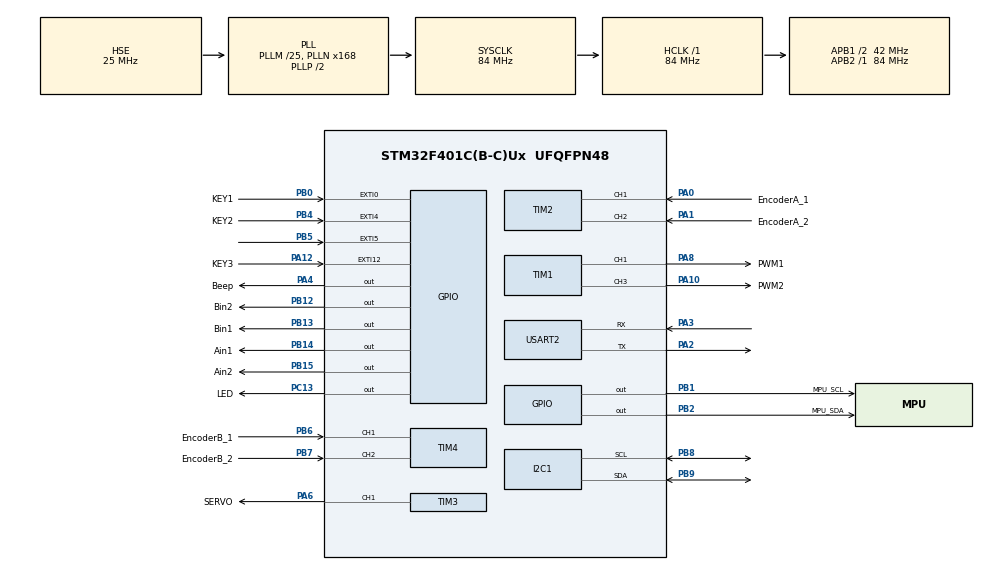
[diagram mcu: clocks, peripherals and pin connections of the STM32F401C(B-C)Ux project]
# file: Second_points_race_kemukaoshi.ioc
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Mcu.Family=STM32F4
Mcu.Name=STM32F401C(B-C)Ux
Mcu.Package=UFQFPN48
NVIC.EXTI0_IRQn=true\:0\:0\:false\:false\:true\:true\:true\:true
NVIC.EXTI15_10_IRQn=true\:0\:0\:false\:false\:true\:true\:true\:true
NVIC.EXTI4_IRQn=true\:0\:0\:false\:false\:true\:true\:true\:true
NVIC.PriorityGroup=NVIC_PRIORITYGROUP_4
NVIC.USART2_IRQn=true\:0\:0\:false\:false\:true\:true\:true\:true
PA0-WKUP.GPIO_Label=EncoderA_1
PA0-WKUP.Signal=S_TIM2_CH1_ETR
PA1.GPIO_Label=EncoderA_2
PA1.Signal=S_TIM2_CH2
PA10.GPIO_Label=PWM2
PA10.Signal=S_TIM1_CH3
PA12.GPIO_Label=KEY3
PA12.GPIO_ModeDefaultEXTI=GPIO_MODE_IT_FALLING
PA12.GPIO_PuPd=GPIO_PULLUP
PA12.Signal=GPXTI12
PA13.Mode=Serial_Wire
PA13.Signal=SYS_JTMS-SWDIO
PA14.Mode=Serial_Wire
PA14.Signal=SYS_JTCK-SWCLK
PA2.Mode=Asynchronous
PA2.Signal=USART2_TX
PA3.Mode=Asynchronous
PA3.Signal=USART2_RX
PA4.GPIO_Label=Beep
PA4.GPIO_PuPd=GPIO_PULLDOWN
PA4.Signal=GPIO_Output
PA6.GPIO_Label=SERVO
PA6.Signal=S_TIM3_CH1
PA8.GPIO_Label=PWM1
PA8.Signal=S_TIM1_CH1
PB0.GPIO_Label=KEY1
PB0.GPIO_ModeDefaultEXTI=GPIO_MODE_IT_FALLING
PB0.GPIO_PuPd=GPIO_PULLUP
PB0.Signal=GPXTI0
PB1.GPIO_Label=MPU_SCL
PB1.GPIO_ModeDefaultOutputPP=GPIO_MODE_OUTPUT_OD
PB1.GPIO_PuPd=GPIO_PULLUP
PB1.Signal=GPIO_Output
PB12.GPIO_Label=Bin2
PB12.Signal=GPIO_Output
PB13.GPIO_Label=Bin1
PB13.Signal=GPIO_Output
PB14.GPIO_Label=Ain1
PB14.Signal=GPIO_Output
PB15.GPIO_Label=Ain2
PB15.Signal=GPIO_Output
PB2.GPIO_Label=MPU_SDA
PB2.GPIO_ModeDefaultOutputPP=GPIO_MODE_OUTPUT_OD
PB2.GPIO_PuPd=GPIO_PULLUP
PB2.Signal=GPIO_Output
PB4.GPIO_Label=KEY2
PB4.GPIO_ModeDefaultEXTI=GPIO_MODE_IT_FALLING
PB4.GPIO_PuPd=GPIO_PULLUP
PB4.Signal=GPXTI4
PB5.GPIO_ModeDefaultEXTI=GPIO_MODE_IT_FALLING
PB5.GPIO_PuPd=GPIO_PULLUP
PB5.Signal=GPXTI5
PB6.GPIO_Label=EncoderB_1
PB6.Signal=S_TIM4_CH1
PB7.GPIO_Label=EncoderB_2
PB7.Signal=S_TIM4_CH2
PB8.Mode=I2C
PB8.Signal=I2C1_SCL
PB9.Mode=I2C
PB9.Signal=I2C1_SDA
PC13-ANTI_TAMP.GPIO_Label=LED
PC13-ANTI_TAMP.GPIO_PuPd=GPIO_PULLDOWN
PC13-ANTI_TAMP.Signal=GPIO_Output
PH0\ -\ OSC_IN.Mode=HSE-External-Oscillator
PH0\ -\ OSC_IN.Signal=RCC_OSC_IN
PH1\ -\ OSC_OUT.Mode=HSE-External-Oscillator
PH1\ -\ OSC_OUT.Signal=RCC_OSC_OUT
ProjectManager.HeapSize=0x200
ProjectManager.StackSize=0x400
ProjectManager.TargetToolchain=MDK-ARM V5.32
RCC.48MHZClocksFreq_Value=42000000
RCC.AHBFreq_Value=84000000
RCC.APB1CLKDivider=RCC_HCLK_DIV2
RCC.APB1Freq_Value=42000000
RCC.APB1TimFreq_Value=84000000
RCC.APB2Freq_Value=84000000
RCC.APB2TimFreq_Value=84000000
RCC.CortexFreq_Value=84000000
RCC.HCLKFreq_Value=84000000
RCC.HSE_VALUE=25000000
RCC.HSI_VALUE=16000000
RCC.LSE_VALUE=32768
RCC.PLLM=25
RCC.PLLN=168
RCC.PLLSourceVirtual=RCC_PLLSOURCE_HSE
RCC.SYSCLKFreq_VALUE=84000000
RCC.SYSCLKSource=RCC_SYSCLKSOURCE_PLLCLK
RCC.VCOOutputFreq_Value=168000000
SH.S_TIM1_CH1.0=TIM1_CH1,PWM Generation1 CH1
SH.S_TIM1_CH3.0=TIM1_CH3,PWM Generation3 CH3
SH.S_TIM2_CH1_ETR.0=TIM2_CH1,Encoder_Interface
SH.S_TIM2_CH2.0=TIM2_CH2,Encoder_Interface
SH.S_TIM3_CH1.0=TIM3_CH1,PWM Generation1 CH1
SH.S_TIM4_CH1.0=TIM4_CH1,Encoder_Interface
SH.S_TIM4_CH2.0=TIM4_CH2,Encoder_Interface
TIM1.Channel-PWM\ Generation1\ CH1=TIM_CHANNEL_1
TIM1.Channel-PWM\ Generation3\ CH3=TIM_CHANNEL_3
TIM3.Channel-PWM\ Generation1\ CH1=TIM_CHANNEL_1
USART2.VirtualMode=VM_ASYNC
VP_TIM1_VS_ClockSourceINT.Mode=Internal
VP_TIM3_VS_ClockSourceINT.Mode=Internal
VP_TIM9_VS_ClockSourceINT.Mode=Internal
board=custom

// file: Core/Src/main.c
/* USER CODE BEGIN Header */
/**
  ******************************************************************************
  * @file           : main.c
  * @brief          : Main program body
  ******************************************************************************
  * @attention
  *
  * Copyright (c) 2025 STMicroelectronics.
  * All rights reserved.
  *
  * This software is licensed under terms that can be found in the LICENSE file
  * in the root directory of this software component.
  * If no LICENSE file comes with this software, it is provided AS-IS.
  *
  ******************************************************************************
  */
/* USER CODE END Header */
#include "main.h"
#include "i2c.h"
#include "tim.h"
#include "usart.h"
#include "gpio.h"

/* USER CODE BEGIN Includes */
#include "uart.h"
#include "control.h"
#include "mpu6050.h"
#include "Print.h"
#include "key.h"
/* USER CODE END Includes */

/* USER CODE BEGIN PV */
extern uint8_t USART2_RX_BUF[USART2_RX_LEN];
/* USER CODE END PV */

void SystemClock_Config(void);

int main(void)
{

  /* MCU Configuration--------------------------------------------------------*/

  /* Reset of all peripherals, Initializes the Flash interface and the Systick. */
  HAL_Init();

  /* Configure the system clock */
  SystemClock_Config();

  /* Initialize all configured peripherals */
  MX_GPIO_Init();
  MX_TIM3_Init();
  MX_TIM1_Init();
  MX_USART2_UART_Init();
  MX_TIM2_Init();
  MX_TIM4_Init();
  MX_I2C1_Init();
  MX_TIM9_Init();
  /* USER CODE BEGIN 2 */
	MPU_Init();
	printf("\r\n%d\r\n", mpu_dmp_init());
	HAL_UART_Receive_IT(&huart2, USART2_RX_BUF, 1);
	HAL_TIM_Base_Start(&htim1);
	HAL_TIM_Base_Start(&htim2);
	HAL_TIM_Base_Start(&htim3);
	HAL_TIM_Base_Start(&htim4);
	HAL_TIM_Base_Start(&htim9);
	HAL_TIM_PWM_Start(&htim1,TIM_CHANNEL_1);
	HAL_TIM_PWM_Start(&htim1,TIM_CHANNEL_3);
	HAL_TIM_PWM_Start(&htim3,TIM_CHANNEL_1);
	HAL_TIM_Encoder_Start(&htim2,TIM_CHANNEL_ALL);
	HAL_TIM_Encoder_Start(&htim4,TIM_CHANNEL_ALL);

		while(Flag.Run_Step == 0)//等待开始运行指令
	{
		Kinematic_Analysis(0,0,yaw);//小车停止
		while(Param.ModeChoose==0){;}//等待按键按下，确定模式
		Flag.Run_Step=1;//开始运行
		Flag.Is_Go_straight=1;//走直线
	}
	switch(Param.ModeChoose)
	{
		case BACK_PACKING:Usart2_SendString("startcnt1");break;	//根据模式选择开启倒车入库识别函数
		case SIDE_PACKING:Usart2_SendString("startcnt2");break; //根据模式选择开启侧方停车识别函数
		case BACK_SIDE_PACKING:Usart2_SendString("startcnt1");break;//根据模式先选择开启倒车入库识别函数,后续改变
		default:break;
	}

  /* USER CODE END 2 */

  /* Infinite loop */
  /* USER CODE BEGIN WHILE */
  while (1)
  {
		Control_Proc();
    /* USER CODE END WHILE */

  }
}

void SystemClock_Config(void)
{
  RCC_OscInitTypeDef RCC_OscInitStruct = {0};
  RCC_ClkInitTypeDef RCC_ClkInitStruct = {0};

  /** Configure the main internal regulator output voltage
  */
  __HAL_RCC_PWR_CLK_ENABLE();
  __HAL_PWR_VOLTAGESCALING_CONFIG(PWR_REGULATOR_VOLTAGE_SCALE2);

  /** Initializes the RCC Oscillators according to the specified parameters
  * in the RCC_OscInitTypeDef structure.
  */
  RCC_OscInitStruct.OscillatorType = RCC_OSCILLATORTYPE_HSE;
  RCC_OscInitStruct.HSEState = RCC_HSE_ON;
  RCC_OscInitStruct.PLL.PLLState = RCC_PLL_ON;
  RCC_OscInitStruct.PLL.PLLSource = RCC_PLLSOURCE_HSE;
  RCC_OscInitStruct.PLL.PLLM = 25;
  RCC_OscInitStruct.PLL.PLLN = 168;
  RCC_OscInitStruct.PLL.PLLP = RCC_PLLP_DIV2;
  RCC_OscInitStruct.PLL.PLLQ = 4;
  if (HAL_RCC_OscConfig(&RCC_OscInitStruct) != HAL_OK)
  {
    Error_Handler();
  }

  /** Initializes the CPU, AHB and APB buses clocks
  */
  RCC_ClkInitStruct.ClockType = RCC_CLOCKTYPE_HCLK|RCC_CLOCKTYPE_SYSCLK
                              |RCC_CLOCKTYPE_PCLK1|RCC_CLOCKTYPE_PCLK2;
  RCC_ClkInitStruct.SYSCLKSource = RCC_SYSCLKSOURCE_PLLCLK;
  RCC_ClkInitStruct.AHBCLKDivider = RCC_SYSCLK_DIV1;
  RCC_ClkInitStruct.APB1CLKDivider = RCC_HCLK_DIV2;
  RCC_ClkInitStruct.APB2CLKDivider = RCC_HCLK_DIV1;

  if (HAL_RCC_ClockConfig(&RCC_ClkInitStruct, FLASH_LATENCY_2) != HAL_OK)
  {
    Error_Handler();
  }
}

void Error_Handler(void)
{
  __disable_irq();
  while (1)
  {
  }
}
